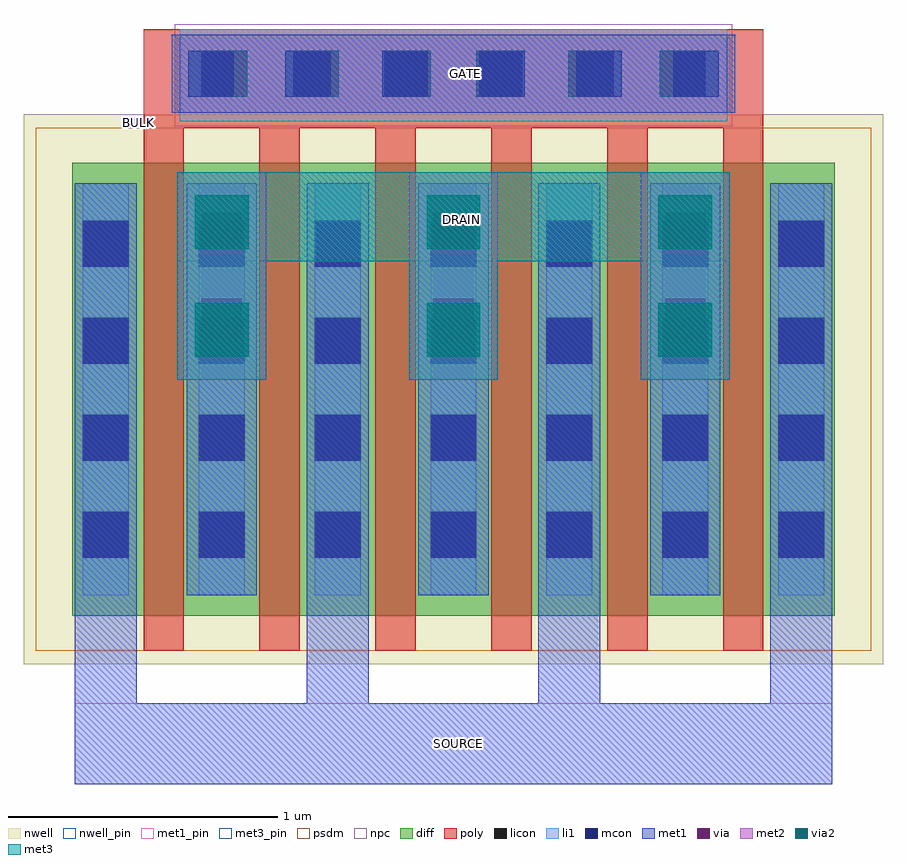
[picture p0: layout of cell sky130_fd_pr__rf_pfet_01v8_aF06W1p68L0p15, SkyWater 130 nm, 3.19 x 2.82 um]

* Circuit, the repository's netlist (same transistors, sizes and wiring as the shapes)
* Copyright 2020 The SkyWater PDK Authors
*
* Licensed under the Apache License, Version 2.0 (the "License");
* you may not use this file except in compliance with the License.
* You may obtain a copy of the License at
*
*     https://www.apache.org/licenses/LICENSE-2.0
*
* Unless required by applicable law or agreed to in writing, software
* distributed under the License is distributed on an "AS IS" BASIS,
* WITHOUT WARRANTIES OR CONDITIONS OF ANY KIND, either express or implied.
* See the License for the specific language governing permissions and
* limitations under the License.
*
* SPDX-License-Identifier: Apache-2.0


.subckt sky130_fd_pr__rf_pfet_01v8_aF06W1p68L0p15 BULK DRAIN GATE SOURCE
X0 SOURCE GATE DRAIN BULK sky130_fd_pr__pfet_01v8 w=1.68e+06u l=150000u
X1 DRAIN GATE SOURCE BULK sky130_fd_pr__pfet_01v8 w=1.68e+06u l=150000u
X2 SOURCE GATE DRAIN BULK sky130_fd_pr__pfet_01v8 w=1.68e+06u l=150000u
X3 DRAIN GATE SOURCE BULK sky130_fd_pr__pfet_01v8 w=1.68e+06u l=150000u
X4 DRAIN GATE SOURCE BULK sky130_fd_pr__pfet_01v8 w=1.68e+06u l=150000u
X5 SOURCE GATE DRAIN BULK sky130_fd_pr__pfet_01v8 w=1.68e+06u l=150000u
.ends

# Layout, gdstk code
import gdstk
lib = gdstk.Library(unit=1e-6, precision=1e-09)
def R(c, l, rs):  # rectangles x0, y0, x1, y1
    for r in rs: c.add(gdstk.rectangle(r[:2], r[2:], *l))
def A(c, l, x, y, w, h, nx, ny, dx, dy):  # array of equal rectangles
    R(c, l, [(x+i*dx, y+j*dy, x+i*dx+w, y+j*dy+h) for i in range(nx) for j in range(ny)])
nwell_pin = (64, 16)
nwell = (64, 20)
diff = (65, 20)
poly = (66, 20)
licon = (66, 44)
li1 = (67, 20)
mcon = (67, 44)
met1_pin = (68, 16)
met1 = (68, 20)
via = (68, 44)
met2 = (69, 20)
via2 = (69, 44)
met3_pin = (70, 16)
met3 = (70, 20)
psdm = (94, 20)
npc = (95, 20)

sky130_fd_pr__rf_pfet_01 = lib.new_cell('sky130_fd_pr__rf_pfet_01v8_aF06W1p68L0p15')
R(sky130_fd_pr__rf_pfet_01, nwell_pin, [(0.41,1.995,0.435,2.025)])
R(sky130_fd_pr__rf_pfet_01, nwell, [(0,0,3.19,2.04)])
A(sky130_fd_pr__rf_pfet_01, diff, 0.445, 0.18, 0.15, 1.68, 6, 1, 0.43, 0)
A(sky130_fd_pr__rf_pfet_01, diff, 1.025, 0.18, 0.28, 1.68, 3, 1, 0.43, 0)
R(sky130_fd_pr__rf_pfet_01, diff, [(0.18,0.18,0.445,1.86), (0.21,0.18,0.445,1.86), (0.595,0.18,0.875,1.86), (1.025,0.18,1.305,1.86), (1.055,0.18,1.305,1.86), (1.885,0.18,2.165,1.86), (1.915,0.18,2.165,1.86), (2.315,0.18,2.595,1.86), (2.745,0.18,3.01,1.86), (2.745,0.18,3.01,1.86), (2.775,0.18,3.01,1.86)])
A(sky130_fd_pr__rf_pfet_01, poly, 0.445, 0.05, 0.15, 1.94, 6, 1, 0.43, 0)
A(sky130_fd_pr__rf_pfet_01, poly, 0.445, 0.05, 0.15, 0.13, 6, 2, 0.43, 1.81)
R(sky130_fd_pr__rf_pfet_01, poly, [(0.445,1.99,2.745,2.355), (0.58,2.015,2.61,2.355)])
A(sky130_fd_pr__rf_pfet_01, licon, 0.22, 0.395, 0.17, 0.17, 7, 4, 0.43, 0.36)
A(sky130_fd_pr__rf_pfet_01, licon, 0.66, 2.105, 0.17, 0.17, 6, 1, 0.34, 0)
A(sky130_fd_pr__rf_pfet_01, li1, 0.22, 0.255, 0.17, 1.53, 7, 1, 0.43, 0)
R(sky130_fd_pr__rf_pfet_01, li1, [(0.58,2.015,2.61,2.355), (0.61,2.105,2.58,2.275)])
A(sky130_fd_pr__rf_pfet_01, mcon, 0.22, 0.395, 0.17, 0.17, 7, 4, 0.43, 0.36)
A(sky130_fd_pr__rf_pfet_01, mcon, 0.61, 2.105, 0.17, 0.17, 6, 1, 0.36, 0)
R(sky130_fd_pr__rf_pfet_01, met1_pin, [(0.19,-0.445,3,-0.145), (0.55,2.045,2.64,2.335)])
R(sky130_fd_pr__rf_pfet_01, met1, [(0.55,2.045,2.64,2.335)])
A(sky130_fd_pr__rf_pfet_01, via, 0.66, 1.205, 0.15, 0.15, 3, 2, 0.86, 0.32)
A(sky130_fd_pr__rf_pfet_01, met2, 0.57, 1.055, 0.33, 0.77, 3, 1, 0.86, 0)
A(sky130_fd_pr__rf_pfet_01, met2, 0.605, 1.12, 0.26, 0.64, 3, 1, 0.86, 0)
A(sky130_fd_pr__rf_pfet_01, via2, 0.635, 1.14, 0.2, 0.2, 3, 2, 0.86, 0.4)
R(sky130_fd_pr__rf_pfet_01, met3_pin, [(0.57,1.495,2.62,1.825)])
A(sky130_fd_pr__rf_pfet_01, met3, 0.57, 1.055, 0.33, 0.77, 3, 1, 0.86, 0)
A(sky130_fd_pr__rf_pfet_01, psdm, 0.465, 0.05, 0.54, 1.94, 5, 1, 0.43, 0)
A(sky130_fd_pr__rf_pfet_01, psdm, 0.625, 0.05, 0.4, 1.94, 5, 1, 0.43, 0)
R(sky130_fd_pr__rf_pfet_01, psdm, [(0.045,0.05,0.575,1.99), (0.21,0.05,0.595,1.99), (2.615,0.05,3.145,1.99)])
R(sky130_fd_pr__rf_pfet_01, npc, [(0.56,1.995,2.63,2.375)])
sky130_fd_pr__rf_pfet_01.add(gdstk.FlexPath([(0.57,1.66),(2.62,1.66)], 0.33, ends="flush", simple_path=True, layer=70, datatype=20))  # met3
sky130_fd_pr__rf_pfet_01.add(gdstk.FlexPath([(0.19,-0.295),(3,-0.295)], 0.3, ends="flush", simple_path=True, layer=68, datatype=20))  # met1
sky130_fd_pr__rf_pfet_01.add(gdstk.FlexPath([(2.885,1.785),(2.885,-0.445)], 0.23, ends="flush", simple_path=True, layer=68, datatype=20))  # met1
sky130_fd_pr__rf_pfet_01.add(gdstk.FlexPath([(2.025,1.785),(2.025,-0.445)], 0.23, ends="flush", simple_path=True, layer=68, datatype=20))  # met1
sky130_fd_pr__rf_pfet_01.add(gdstk.FlexPath([(1.165,1.785),(1.165,-0.445)], 0.23, ends="flush", simple_path=True, layer=68, datatype=20))  # met1
sky130_fd_pr__rf_pfet_01.add(gdstk.FlexPath([(2.455,1.785),(2.455,0.255)], 0.26, ends="flush", simple_path=True, layer=68, datatype=20))  # met1
sky130_fd_pr__rf_pfet_01.add(gdstk.FlexPath([(1.595,1.785),(1.595,0.255)], 0.26, ends="flush", simple_path=True, layer=68, datatype=20))  # met1
sky130_fd_pr__rf_pfet_01.add(gdstk.FlexPath([(0.735,1.785),(0.735,0.255)], 0.26, ends="flush", simple_path=True, layer=68, datatype=20))  # met1
sky130_fd_pr__rf_pfet_01.add(gdstk.FlexPath([(0.305,1.785),(0.305,-0.445)], 0.23, ends="flush", simple_path=True, layer=68, datatype=20))  # met1
sky130_fd_pr__rf_pfet_01.add(gdstk.Label('DRAIN', (1.625,1.65), layer=70, texttype=16))
sky130_fd_pr__rf_pfet_01.add(gdstk.Label('GATE', (1.64,2.19), layer=68, texttype=16))
sky130_fd_pr__rf_pfet_01.add(gdstk.Label('SOURCE', (1.615,-0.295), layer=68, texttype=16))
sky130_fd_pr__rf_pfet_01.add(gdstk.Label('BULK', (0.425,2.01), layer=64, texttype=5))

lib.write_gds('sky130_fd_pr__rf_pfet_01v8_aF06W1p68L0p15.gds')
